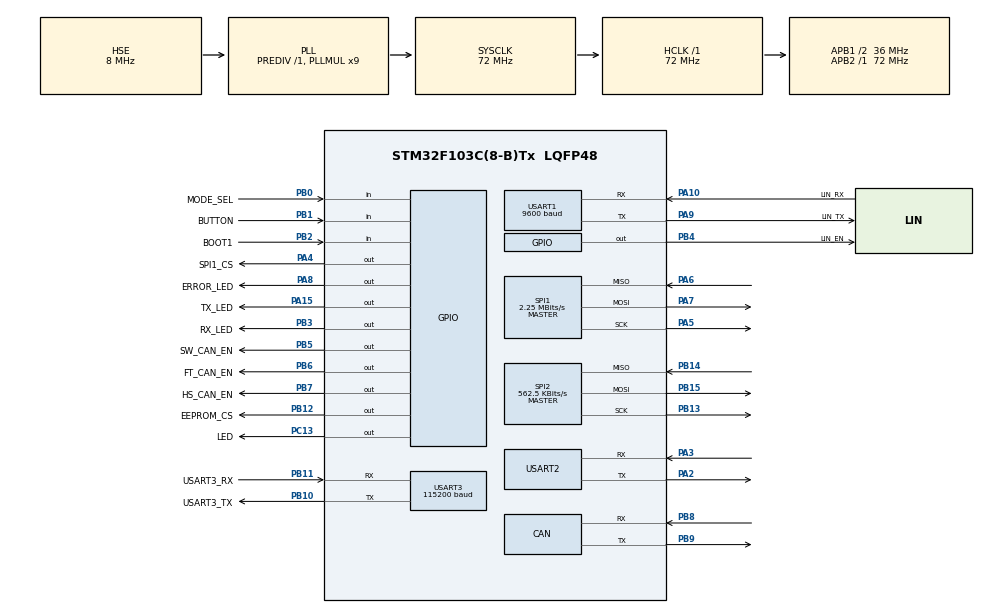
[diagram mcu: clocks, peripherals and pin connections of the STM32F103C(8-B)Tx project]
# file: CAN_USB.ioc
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CAN.CalculateTimeBit=1333.33
CAN.CalculateTimeQuantum=444.44444444444446
Dma.Request0=USART2_TX
Dma.Request1=USART1_TX
Dma.Request2=USART3_TX
Dma.USART1_TX.1.Direction=DMA_MEMORY_TO_PERIPH
Dma.USART1_TX.1.Instance=DMA1_Channel4
Dma.USART1_TX.1.MemDataAlignment=DMA_MDATAALIGN_BYTE
Dma.USART1_TX.1.MemInc=DMA_MINC_ENABLE
Dma.USART1_TX.1.Mode=DMA_NORMAL
Dma.USART1_TX.1.PeriphDataAlignment=DMA_PDATAALIGN_BYTE
Dma.USART1_TX.1.PeriphInc=DMA_PINC_DISABLE
Dma.USART1_TX.1.Priority=DMA_PRIORITY_LOW
Dma.USART2_TX.0.Direction=DMA_MEMORY_TO_PERIPH
Dma.USART2_TX.0.Instance=DMA1_Channel7
Dma.USART2_TX.0.MemDataAlignment=DMA_MDATAALIGN_BYTE
Dma.USART2_TX.0.MemInc=DMA_MINC_ENABLE
Dma.USART2_TX.0.Mode=DMA_NORMAL
Dma.USART2_TX.0.PeriphDataAlignment=DMA_PDATAALIGN_BYTE
Dma.USART2_TX.0.PeriphInc=DMA_PINC_DISABLE
Dma.USART2_TX.0.Priority=DMA_PRIORITY_LOW
Dma.USART3_TX.2.Direction=DMA_MEMORY_TO_PERIPH
Dma.USART3_TX.2.Instance=DMA1_Channel2
Dma.USART3_TX.2.MemDataAlignment=DMA_MDATAALIGN_BYTE
Dma.USART3_TX.2.MemInc=DMA_MINC_ENABLE
Dma.USART3_TX.2.Mode=DMA_NORMAL
Dma.USART3_TX.2.PeriphDataAlignment=DMA_PDATAALIGN_BYTE
Dma.USART3_TX.2.PeriphInc=DMA_PINC_DISABLE
Dma.USART3_TX.2.Priority=DMA_PRIORITY_LOW
Mcu.Family=STM32F1
Mcu.Name=STM32F103C(8-B)Tx
Mcu.Package=LQFP48
NVIC.DMA1_Channel2_IRQn=true\:2\:0\:true\:false\:true\:false\:true
NVIC.DMA1_Channel4_IRQn=true\:2\:0\:true\:false\:true\:false\:true
NVIC.DMA1_Channel7_IRQn=true\:2\:0\:true\:false\:true\:false\:true
NVIC.PriorityGroup=NVIC_PRIORITYGROUP_4
NVIC.USART1_IRQn=true\:1\:0\:true\:false\:true\:true\:true
NVIC.USART2_IRQn=true\:1\:0\:true\:false\:true\:true\:true
NVIC.USART3_IRQn=true\:1\:0\:true\:false\:true\:true\:true
NVIC.USB_LP_CAN1_RX0_IRQn=true\:0\:0\:false\:false\:true\:true\:true
PA10.GPIO_Label=LIN_RX
PA10.GPIO_PuPd=GPIO_PULLUP
PA10.Mode=LIN
PA10.Signal=USART1_RX
PA13.Mode=Serial_Wire
PA13.Signal=SYS_JTMS-SWDIO
PA14.Mode=Serial_Wire
PA14.Signal=SYS_JTCK-SWCLK
PA15.GPIO_Label=TX_LED
PA15.Signal=GPIO_Output
PA2.GPIO_Mode=GPIO_MODE_AF_PP
PA2.Mode=Asynchronous
PA2.Signal=USART2_TX
PA3.Mode=Asynchronous
PA3.Signal=USART2_RX
PA4.GPIO_Label=SPI1_CS
PA4.GPIO_Speed=GPIO_SPEED_FREQ_HIGH
PA4.PinState=GPIO_PIN_SET
PA4.Signal=GPIO_Output
PA5.Mode=Full_Duplex_Master
PA5.Signal=SPI1_SCK
PA6.Mode=Full_Duplex_Master
PA6.Signal=SPI1_MISO
PA7.Mode=Full_Duplex_Master
PA7.Signal=SPI1_MOSI
PA8.GPIO_Label=ERROR_LED
PA8.Signal=GPIO_Output
PA9.GPIO_Label=LIN_TX
PA9.Mode=LIN
PA9.Signal=USART1_TX
PB0.GPIO_Label=MODE_SEL
PB0.GPIO_PuPd=GPIO_PULLUP
PB0.Signal=GPIO_Input
PB1.GPIO_Label=BUTTON
PB1.GPIO_PuPd=GPIO_PULLUP
PB1.Signal=GPIO_Input
PB10.GPIO_Label=USART3_TX
PB10.Mode=Asynchronous
PB10.Signal=USART3_TX
PB11.GPIO_Label=USART3_RX
PB11.Mode=Asynchronous
PB11.Signal=USART3_RX
PB12.GPIO_Label=EEPROM_CS
PB12.GPIO_Speed=GPIO_SPEED_FREQ_HIGH
PB12.PinState=GPIO_PIN_SET
PB12.Signal=GPIO_Output
PB13.Mode=Full_Duplex_Master
PB13.Signal=SPI2_SCK
PB14.Mode=Full_Duplex_Master
PB14.Signal=SPI2_MISO
PB15.Mode=Full_Duplex_Master
PB15.Signal=SPI2_MOSI
PB2.GPIO_Label=BOOT1
PB2.Signal=GPIO_Input
PB3.GPIO_Label=RX_LED
PB3.Signal=GPIO_Output
PB4.GPIO_Label=LIN_EN
PB4.Signal=GPIO_Output
PB5.GPIO_Label=SW_CAN_EN
PB5.Signal=GPIO_Output
PB6.GPIO_Label=FT_CAN_EN
PB6.Signal=GPIO_Output
PB7.GPIO_Label=HS_CAN_EN
PB7.Signal=GPIO_Output
PB8.Mode=Master
PB8.Signal=CAN_RX
PB9.Mode=Master
PB9.Signal=CAN_TX
PC13-TAMPER-RTC.GPIO_Label=LED
PC13-TAMPER-RTC.GPIO_ModeDefaultOutputPP=GPIO_MODE_OUTPUT_PP
PC13-TAMPER-RTC.GPIO_PuPd=GPIO_NOPULL
PC13-TAMPER-RTC.GPIO_Speed=GPIO_SPEED_FREQ_HIGH
PC13-TAMPER-RTC.PinState=GPIO_PIN_RESET
PC13-TAMPER-RTC.Signal=GPIO_Output
PC14-OSC32_IN.Mode=LSE-External-Oscillator
PC14-OSC32_IN.Signal=RCC_OSC32_IN
PC15-OSC32_OUT.Mode=LSE-External-Oscillator
PC15-OSC32_OUT.Signal=RCC_OSC32_OUT
PD0-OSC_IN.Mode=HSE-External-Oscillator
PD0-OSC_IN.Signal=RCC_OSC_IN
PD1-OSC_OUT.Mode=HSE-External-Oscillator
PD1-OSC_OUT.Signal=RCC_OSC_OUT
ProjectManager.HeapSize=0x200
ProjectManager.StackSize=0x400
ProjectManager.TargetToolchain=STM32CubeIDE
RCC.AHBFreq_Value=72000000
RCC.APB1CLKDivider=RCC_HCLK_DIV2
RCC.APB1Freq_Value=36000000
RCC.APB1TimFreq_Value=72000000
RCC.APB2Freq_Value=72000000
RCC.APB2TimFreq_Value=72000000
RCC.HCLKFreq_Value=72000000
RCC.PLLMUL=RCC_PLL_MUL9
RCC.PLLSourceVirtual=RCC_PLLSOURCE_HSE
RCC.RTCClockSelection=RCC_RTCCLKSOURCE_LSE
RCC.SYSCLKFreq_VALUE=72000000
RCC.SYSCLKSource=RCC_SYSCLKSOURCE_PLLCLK
RCC.USBFreq_Value=48000000
RCC.USBPrescaler=RCC_USBCLKSOURCE_PLL_DIV1_5
SPI1.BaudRatePrescaler=SPI_BAUDRATEPRESCALER_32
SPI1.CalculateBaudRate=2.25 MBits/s
SPI1.Direction=SPI_DIRECTION_2LINES
SPI1.Mode=SPI_MODE_MASTER
SPI1.VirtualType=VM_MASTER
SPI2.BaudRatePrescaler=SPI_BAUDRATEPRESCALER_64
SPI2.CalculateBaudRate=562.5 KBits/s
SPI2.Direction=SPI_DIRECTION_2LINES
SPI2.Mode=SPI_MODE_MASTER
SPI2.VirtualType=VM_MASTER
USART1.BaudRate=9600
USART1.VirtualMode=VM_ASYNC
USART2.VirtualMode=VM_ASYNC
USART3.BaudRate=115200
USART3.VirtualMode=VM_ASYNC
VP_FATFS_VS_Generic.Mode=User_defined
VP_RTC_VS_RTC_Activate.Mode=RTC_Enabled
board=custom

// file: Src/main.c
/* USER CODE BEGIN Header */
/**
  ******************************************************************************
  * @file           : main.c
  * @brief          : Main program body
  ******************************************************************************
  * @attention
  *
  * <h2><center>&copy; Copyright (c) 2020 STMicroelectronics.
  * All rights reserved.</center></h2>
  *
  * This software component is licensed by ST under Ultimate Liberty license
  * SLA0044, the "License"; You may not use this file except in compliance with
  * the License. You may obtain a copy of the License at:
  *                             www.st.com/SLA0044
  *
  ******************************************************************************
  */
/* USER CODE END Header */
#include "main.h"
#include "can.h"
#include "dma.h"
#include "fatfs.h"
#include "rtc.h"
#include "spi.h"
#include "usart.h"
#include "gpio.h"

/* USER CODE BEGIN Includes */
//#include "usbd_cdc_if.h"
#include <stdlib.h>
#include "button.h"
#include "GVRET.h"
#include "eeprom.h"
#include <string.h>
#include "LIN.h"
/* USER CODE END Includes */

/* USER CODE BEGIN PD */
UART_HandleTypeDef *huart_active;
UART_HandleTypeDef *huart_lin;

/* USER CODE END PD */

/* USER CODE BEGIN PV */
uint64_t time_stamp_UART = 0;
uint64_t time_stamp_LED = 0;
uint64_t time_stamp_BUT = 0;
uint64_t time_stamp_SAVE = 0;
//can_msg_t can_msg;
uint8_t uart_tx_bufer[128];
uint8_t uart_tx_bufer_1[128];
uint8_t uart_tx_bufer_active_no = 0;
uint8_t uart_tx_com_bufer[32];
uint8_t uart_answ_ready = 0;
uint32_t uart_tx_pointer = 0;
uint8_t uart_rx_bufer[1024];
uint32_t uart_rx_pointer_w = 0;
uint32_t uart_rx_pointer_r = 0;
uint8_t uart_rx_char;
uint8_t flash_buffer[128];
uint8_t filename[] = LOG_NAME;
uint8_t pathname[] = LOG_PATH;

uint8_t script_read_buf[1024];
uint32_t debug_pt = 0;

conf_t conf;

can_msg_t can_rx_buf[2];
volatile uint8_t uart_busy = 0;

uint8_t test_str[] = "Hello World \r\n";
t_button_var button_var;

uint32_t rx_led_ts = 0;
uint32_t tx_led_ts = 0;
uint32_t error_led_ts = 0;
uint8_t rx_led_z1 = 0;
uint8_t tx_led_z1 = 0;
uint8_t error_led_z1 = 0;

//uint8_t in[100], out[150];

uint8_t script_buf[CMD_BUFFER_LENGTH];
uint8_t script_buf_pointer = 0;

extern const char help_text[];

FRESULT fresult = FR_OK;
FATFS fs;
FIL fil;
extern Disk_drvTypeDef  disk;

/* USER CODE END PV */

void SystemClock_Config(void);
/* USER CODE BEGIN PFP */
void ConvertValToString(int64_t n, uint8_t s[]);
void SendToUart_CanHacker(can_msg_t msg);

void UART_Check_Data_Ready(void);
/* USER CODE END PFP */

/* USER CODE BEGIN 0 */
uint8_t txt_hallo[] = "CAN temperature logger\r\n";
uint8_t timestamp[] = "1234567890";

void UART_Check_Data_Ready(void)
{
	if(uart_answ_ready == 1)
	{
		for(int i = 0; i < uart_tx_pointer; i++)
		{
			uart_tx_bufer[i] = uart_tx_com_bufer[i];
		}
		HAL_UART_Transmit_DMA(huart_active, uart_tx_bufer, uart_tx_pointer);
		uart_tx_pointer = 0;
		uart_busy = 1;
		uart_answ_ready = 0;
	}
	else
	{
		if(conf.state == LAWICEL_CONNECT || conf.state == SAVVYCAN_CONNECT)
		{
			if(CAN_Buffer_pull() == HAL_OK)
			{
				uart_busy = 1;
				//HAL_GPIO_WritePin(RX_LED_GPIO_Port, RX_LED_Pin, GPIO_PIN_RESET);
			}
		}
		else
		{
			//CAN_Buffer_clean();
		}

		if(conf.script_print)
		{
			uart_tx_pointer = 0;
			for(conf.script_address = eeprom_settings.start_address_script; conf.script_address < eeprom_settings.eeprom_size-2/*(eeprom_settings.start_address_csript + 128)*/; conf.script_address++)
			{
				EEPROM_Read(&hspi2, conf.script_address, &uart_tx_bufer[uart_tx_pointer++], 1);
				if(uart_tx_bufer[uart_tx_pointer-1] == 0xFF)
				{
					uart_tx_pointer--;
					conf.script_print = false;
					break;
				}
			}
			if(conf.script_address >= eeprom_settings.eeprom_size-2)
			{
				conf.script_print = false;
			}
			HAL_UART_Transmit_DMA(huart_active, uart_tx_bufer, uart_tx_pointer);
			uart_tx_pointer = 0;
			uart_busy = 1;
		}
		if(conf.help_print)
				{
					uart_tx_pointer = 0;
					for(int i = conf.help_text_pointer; i < conf.help_text_pointer + 128; i++)
					{
						uart_tx_bufer[uart_tx_pointer++] = help_text[i];
						if(help_text[i] == '\0')
						{
							uart_tx_pointer--;
							conf.help_print = false;
							break;
						}
					}
					conf.help_text_pointer += 128;
					HAL_UART_Transmit_DMA(huart_active, uart_tx_bufer, uart_tx_pointer);
					uart_tx_pointer = 0;
					uart_busy = 1;
				}
	}

}

void HAL_UART_TxCpltCallback(UART_HandleTypeDef *huart)
{
	uart_busy = 0;
	UART_Check_Data_Ready();
	//HAL_GPIO_WritePin(RX_LED_GPIO_Port, RX_LED_Pin, GPIO_PIN_RESET);
}

void HAL_CAN_RxFifo1MsgPendingCallback(CAN_HandleTypeDef *hcan)
{
	HAL_CAN_GetRxMessage(hcan, CAN_RX_FIFO1, &can_rx_buf[1].header, can_rx_buf[1].data_byte);
	can_rx_buf[1].timestamp = HAL_GetTick();
	can_rx_buf[1].bus = eeprom_settings.numBus;
	CAN_Buffer_Write_Data(can_rx_buf[1]);
	if(conf.loger_run == true)
		CAN_Log_Buffer_Write_Data(can_rx_buf[1]);
	HAL_GPIO_WritePin(RX_LED_GPIO_Port, RX_LED_Pin, GPIO_PIN_SET);
}

void HAL_CAN_RxFifo0MsgPendingCallback(CAN_HandleTypeDef *hcan)
{
	if(HAL_CAN_GetRxMessage(hcan, CAN_RX_FIFO0, &can_rx_buf[0].header, can_rx_buf[0].data_byte) != HAL_OK) return;
	can_rx_buf[0].timestamp = HAL_GetTick();
	can_rx_buf[0].bus = eeprom_settings.numBus;
	CAN_Buffer_Write_Data(can_rx_buf[0]);
	if(conf.loger_run == true)
		CAN_Log_Buffer_Write_Data(can_rx_buf[0]);
	HAL_GPIO_WritePin(RX_LED_GPIO_Port, RX_LED_Pin, GPIO_PIN_SET);
}

void HAL_CAN_RxFifo0FullCallback(CAN_HandleTypeDef *hcan)
{
	HAL_CAN_RxFifo0MsgPendingCallback(hcan);
}

void HAL_CAN_RxFifo1FullCallback(CAN_HandleTypeDef *hcan)
{
	HAL_CAN_RxFifo1MsgPendingCallback(hcan);
}

void HAL_CAN_ErrorCallback(CAN_HandleTypeDef *hcan)
{
	HAL_GPIO_WritePin(ERROR_LED_GPIO_Port, ERROR_LED_Pin, GPIO_PIN_SET);
	return;
}

HAL_StatusTypeDef Save_to_File(uint8_t * buf, uint32_t len)
{
	unsigned int bw;
	fresult = f_write(&fil, buf, len, &bw);
	if(fresult == FR_OK && bw == len) return HAL_OK;
	else return HAL_ERROR;
}

/* USER CODE END 0 */

int main(void)
{
  /* USER CODE BEGIN 1 */
	CAN_Buffer_Init();
  /* USER CODE END 1 */

  /* MCU Configuration--------------------------------------------------------*/

  /* Reset of all peripherals, Initializes the Flash interface and the Systick. */
  HAL_Init();

  /* USER CODE BEGIN Init */
  huart_active = &huart3;
  huart_lin = &huart1;
  /* USER CODE END Init */

  /* Configure the system clock */
  SystemClock_Config();

  /* Initialize all configured peripherals */
  MX_GPIO_Init();
  MX_DMA_Init();
  MX_RTC_Init();
  MX_USART3_UART_Init();
  MX_USART2_UART_Init();
  MX_USART1_UART_Init();
  MX_CAN_Init();
  MX_SPI2_Init();
  MX_FATFS_Init();
  MX_SPI1_Init();
  /* USER CODE BEGIN 2 */
  HAL_Delay(100);

  EEPROM_Write_disable(&hspi2, 1000);

 // first initialization
  volatile boolean first = false;
  EEPROM_Read(&hspi2, EEPROM_SETINGS_ADDR, (uint8_t*)&eeprom_settings, sizeof(eeprom_settings));
  if(eeprom_settings.version == 0xFFFF || eeprom_settings.version < EEPROM_VERSION) {eeprom_settings.version = EEPROM_VERSION; first = true;}
  if(eeprom_settings.eeprom_size == 0xFFFF) {eeprom_settings.eeprom_size = EEPROM_SIZE; first = true;}
  if(eeprom_settings.number_of_busses == 0xFF) {eeprom_settings.number_of_busses = 4; first = true;}
  if(eeprom_settings.start_address_script == 0xFFFF) {eeprom_settings.start_address_script = EEPROM_SCRIPT_ADDR; first = true;}
  if(eeprom_settings.numBus == 0xFF) {eeprom_settings.numBus = 0; first = true;}
  if(eeprom_settings.CAN_Speed[0] == 0xFFFFFFFF) {eeprom_settings.CAN_Speed[0] = 500000; first = true;}
  if(eeprom_settings.CAN_Speed[1] == 0xFFFFFFFF) {eeprom_settings.CAN_Speed[1] = 125000; first = true;}
  if(eeprom_settings.CAN_Speed[2] == 0xFFFFFFFF) {eeprom_settings.CAN_Speed[2] = 33333; first = true;}
  if(eeprom_settings.CAN_Speed[3] == 0xFFFFFFFF) {eeprom_settings.CAN_Speed[3] = 10417; first = true;}
  for(int i=0; i<4;i++)
  {
	  if(eeprom_settings.CAN_mode[i] == 0xFFFFFFFF) {eeprom_settings.CAN_mode[i] = CAN_MODE_SILENT; first = true;}
  }
  if(eeprom_settings.UART_Speed == 0xFFFF) {eeprom_settings.UART_Speed = 115200; first = true;}
  if(eeprom_settings.fileOutputType > 10) {eeprom_settings.fileOutputType = CRTD_FILE; first = true;}
  if(eeprom_settings.SD_autoconnect > 10) {eeprom_settings.SD_autoconnect = 0; first = true;}

  if(first == true) EEPROM_Write(&hspi2, EEPROM_SETINGS_ADDR, (uint8_t*)&eeprom_settings, sizeof(eeprom_settings));

  // Check switch or incorrect data to reset UART speed
  if(HAL_GPIO_ReadPin(BOOT1_GPIO_Port, BOOT1_Pin) == 1)
  {
	  huart3.Init.BaudRate = 115200;
  }
  else
  {
	  huart3.Init.BaudRate = (eeprom_settings.UART_Speed > 0 && eeprom_settings.UART_Speed < 10000000) ? eeprom_settings.UART_Speed : 115200;
  }
  HAL_UART_Init(&huart3);

// SD FLASH try connect
  if(eeprom_settings.SD_autoconnect == 1)
  {
		fresult = f_mount(&fs, "0:", 1);
		if(fresult == FR_OK)
		{
			conf.sd_card_avalible = true;
			fresult = f_open(&fil, "script.txt", FA_READ);
			if(fresult == FR_OK)
			{
				do
				{
					if(f_gets((char*)script_read_buf, sizeof(script_read_buf), &fil) != 0)
					{
						uint8_t str_len = strlen((char*)script_read_buf);

						// cut of comments
						for(int i = 0; i < str_len; i++)
						{
							if(script_read_buf[i] == ' ' || script_read_buf[i] == '#' || script_read_buf[i] == '\r')
							{
								//if(i == 0) continue;
								script_read_buf[i] = '\r';
								str_len = i + 1;
								break;
							}
						}
						// correct "end of command"
						if(script_read_buf[str_len-1] == '\n') script_read_buf[str_len-1] = '\r';
						else if(script_read_buf[str_len-1] != '\r') script_read_buf[str_len++] = '\r';
						//if(debug_buf[str_len-2] == '\r') str_len--;

						if(str_len > 1)
							copy_script(script_read_buf, str_len);
					}
					else
					{
						script_read_buf[0] = 0xFF;
						copy_script(script_read_buf, 1);
						break;
					}
				}
				while(1);
			}
		}
		else
		{
			f_mount(0, "0:", 1);
			disk.is_initialized[0] = 0; // Reset flag of initialized
		}
  }

  conf.script_run = true;
  conf.scpipt_saving = false;
  conf.script_address = eeprom_settings.start_address_script;
  conf.script_loop_address = 0xFFFF;

#ifdef ONLY_GM_DIAG

  SetFilterCAN(0x7E0<<21, 0xFF0<<21, CAN_FILTERMODE_IDMASK,0);
  SetFilterCAN(0x7DF<<21, 0xFFF<<21, CAN_FILTERMODE_IDMASK,1);
  SetFilterCAN(0x241<<21, 0xFE0<<21, CAN_FILTERMODE_IDMASK,2);
#else

  SetFilterCAN(0,0,CAN_FILTERMODE_IDMASK,0);
#endif
  Change_CAN_channel();
  /* USER CODE END 2 */

  /* Infinite loop */
  /* USER CODE BEGIN WHILE */
#if 0
  /* Enable the UART Parity Error Interrupt */
  __HAL_UART_ENABLE_IT(&huart3, UART_IT_PE);
#endif
  /* Enable the UART Error Interrupt: (Frame error, noise error, overrun error) */
  __HAL_UART_ENABLE_IT(&huart3, UART_IT_ERR);

  /* Enable the UART Data Register not empty Interrupt */
  __HAL_UART_ENABLE_IT(&huart3, UART_IT_RXNE);

  while (1)
  {

	  while(uart_rx_pointer_r != uart_rx_pointer_w) // Buffer UART RX reading
	  {
		  uart_rx_pointer_r = (uart_rx_pointer_r + 1) & 1023;
		  Check_Command(uart_rx_bufer[uart_rx_pointer_r]);

	  }

	  if(conf.script_run == true)
	  {
		  if(conf.script_delay_active && HAL_GetTick() - conf.script_timestamp < conf.script_delay)
		  {
			  ;
		  }
		  else
		  {
			  uint8_t in_byte;
			  conf.script_delay_active = false;
			  EEPROM_Read(&hspi2, conf.script_address, &in_byte, 1);
			  if(in_byte == CR)
			  {
				  exec_usb_cmd(script_buf);
				  for(;script_buf_pointer > 0; script_buf_pointer--)
				  {
					  script_buf[script_buf_pointer] = 0;
				  }
				  script_buf_pointer = 0;
				  if(conf.script_address < eeprom_settings.eeprom_size-1) conf.script_address++;
				  else conf.script_run = false;
			  }
			  else if(in_byte == 0xFF)
			  {
				  script_buf_pointer = 0;
				  if(conf.script_loop_address >= eeprom_settings.start_address_script && conf.script_loop_address != 0xFFFF)
				  {
					  conf.script_address = conf.script_loop_address;
				  }
				  else
				  {
					  conf.script_run = false;
					  conf.script_address = eeprom_settings.start_address_script;
					  script_buf_pointer = 0;
				  }
			  }
			  else
			  {
				  script_buf[script_buf_pointer] = in_byte;
				  script_buf_pointer++;
				  if(conf.script_address < (eeprom_settings.eeprom_size-1) && script_buf_pointer < CMD_BUFFER_LENGTH) conf.script_address++;
				  else conf.script_run = false;
			  }
		  }

	  }
	  else
	  {
		  conf.script_delay_active = false;
	  }

		if(HAL_GetTick() - time_stamp_UART >= 20 && uart_busy == 0)
		{
			time_stamp_UART = HAL_GetTick();
			UART_Check_Data_Ready();
		}

		// LED blinking
		if(HAL_GetTick() - time_stamp_LED >= 500)
		{
			time_stamp_LED = HAL_GetTick();
			HAL_GPIO_TogglePin(LED_GPIO_Port, LED_Pin);
// LIN DEBUG
//			uint8_t temp_buf[9] = {0x55,0x55,0x55,0x55,0x55,0x55,0x55,0x55,0x55};
//			lin_send_master_request(0x55, temp_buf, 9);
//			HAL_GPIO_WritePin(TX_LED_GPIO_Port, TX_LED_Pin, GPIO_PIN_SET);
		}

		//Save file, open NEW
		if(conf.sd_card_avalible == true)
		{
			HAL_StatusTypeDef buff_stat;

			buff_stat = CAN_Log_Buffer_pull();

			if(HAL_GetTick() - time_stamp_SAVE >= LOG_FILE_SAVE_TIMEOUT
					|| ((conf.state == IDLE_ST || conf.loger_run == false) && buff_stat == HAL_BUSY)
					|| conf.fileOutputType != eeprom_settings.fileOutputType)
			{
				time_stamp_SAVE = HAL_GetTick();
				if(f_size(&fil) != 0 || conf.fileOutputType != eeprom_settings.fileOutputType) // TODO save new format check
				{
					fresult = f_close(&fil);
					if(conf.loger_run == true)
					{
						conf.fileOutputType = eeprom_settings.fileOutputType;
						  do
						  {
							  Generate_Next_FileName(filename, pathname);
							  fresult = f_open(&fil, (const TCHAR*)filename, FA_WRITE | FA_CREATE_NEW | FA_CREATE_ALWAYS);

							  if(fresult == FR_DENIED) // Full_directory
							  {
						        	do
						        	{
						        		Generate_Next_Path(pathname);
						        		fresult = f_mkdir((TCHAR*)pathname);
						        	}
						        	while(fresult == FR_EXIST);
						        	if(fresult != FR_OK) return ERROR;
						        	Generate_Next_FileName(filename, pathname);
						        	fresult = f_open(&fil, (const TCHAR*)filename, FA_WRITE | FA_CREATE_NEW | FA_CREATE_ALWAYS);
							  }
						  }
						  while(fresult == FR_EXIST);
					}
					if(fresult != FR_OK) conf.sd_card_avalible = false; //TODO flex. All errors disable card
				}
			}
		}

		if(Button_rutine(&button_var, HAL_GPIO_ReadPin(BUTTON_GPIO_Port, BUTTON_Pin) == 1) == DOUBLE_CLICKED)
		{
			Next_CAN_channel();
		}

		if(HAL_GPIO_ReadPin(RX_LED_GPIO_Port, RX_LED_Pin) == GPIO_PIN_SET)
		{
			if(rx_led_z1 == 0)
			{
				rx_led_z1 = 1;
				rx_led_ts = HAL_GetTick();
			}
			else if(HAL_GetTick() - rx_led_ts > 3)
			{
				HAL_GPIO_WritePin(RX_LED_GPIO_Port, RX_LED_Pin, GPIO_PIN_RESET);
				rx_led_z1 = 0;
				rx_led_ts = HAL_GetTick();
			}
		}

		if(HAL_GPIO_ReadPin(TX_LED_GPIO_Port, TX_LED_Pin) == GPIO_PIN_SET)
		{
			if(tx_led_z1 == 0)
			{
				tx_led_z1 = 1;
				tx_led_ts = HAL_GetTick();
			}
			else if(HAL_GetTick() - tx_led_ts > 3)
			{
				HAL_GPIO_WritePin(TX_LED_GPIO_Port, TX_LED_Pin, GPIO_PIN_RESET);
				tx_led_z1 = 0;
			}
		}

		if(HAL_GPIO_ReadPin(ERROR_LED_GPIO_Port, ERROR_LED_Pin) == GPIO_PIN_SET)
		{
			if(HAL_CAN_GetError(&hcan) == HAL_CAN_ERROR_BOF) break;
			if(error_led_z1 == 0)
			{
				error_led_z1 = 1;
				error_led_ts = HAL_GetTick();
			}
			else if(HAL_GetTick() - error_led_ts > 100)
			{
				HAL_GPIO_WritePin(ERROR_LED_GPIO_Port, ERROR_LED_Pin, GPIO_PIN_RESET);
				error_led_z1 = 0;
			}
		}

    /* USER CODE END WHILE */

  }
}

void SystemClock_Config(void)
{
  RCC_OscInitTypeDef RCC_OscInitStruct = {0};
  RCC_ClkInitTypeDef RCC_ClkInitStruct = {0};
  RCC_PeriphCLKInitTypeDef PeriphClkInit = {0};

  /** Initializes the RCC Oscillators according to the specified parameters
  * in the RCC_OscInitTypeDef structure.
  */
  RCC_OscInitStruct.OscillatorType = RCC_OSCILLATORTYPE_HSE|RCC_OSCILLATORTYPE_LSE;
  RCC_OscInitStruct.HSEState = RCC_HSE_ON;
  RCC_OscInitStruct.HSEPredivValue = RCC_HSE_PREDIV_DIV1;
  RCC_OscInitStruct.LSEState = RCC_LSE_ON;
  RCC_OscInitStruct.HSIState = RCC_HSI_ON;
  RCC_OscInitStruct.PLL.PLLState = RCC_PLL_ON;
  RCC_OscInitStruct.PLL.PLLSource = RCC_PLLSOURCE_HSE;
  RCC_OscInitStruct.PLL.PLLMUL = RCC_PLL_MUL9;
  if (HAL_RCC_OscConfig(&RCC_OscInitStruct) != HAL_OK)
  {
    Error_Handler();
  }
  /** Initializes the CPU, AHB and APB buses clocks
  */
  RCC_ClkInitStruct.ClockType = RCC_CLOCKTYPE_HCLK|RCC_CLOCKTYPE_SYSCLK
                              |RCC_CLOCKTYPE_PCLK1|RCC_CLOCKTYPE_PCLK2;
  RCC_ClkInitStruct.SYSCLKSource = RCC_SYSCLKSOURCE_PLLCLK;
  RCC_ClkInitStruct.AHBCLKDivider = RCC_SYSCLK_DIV1;
  RCC_ClkInitStruct.APB1CLKDivider = RCC_HCLK_DIV2;
  RCC_ClkInitStruct.APB2CLKDivider = RCC_HCLK_DIV1;

  if (HAL_RCC_ClockConfig(&RCC_ClkInitStruct, FLASH_LATENCY_2) != HAL_OK)
  {
    Error_Handler();
  }
  PeriphClkInit.PeriphClockSelection = RCC_PERIPHCLK_RTC;
  PeriphClkInit.RTCClockSelection = RCC_RTCCLKSOURCE_LSE;
  if (HAL_RCCEx_PeriphCLKConfig(&PeriphClkInit) != HAL_OK)
  {
    Error_Handler();
  }
}

/* USER CODE BEGIN 4 */
/* itoa:  convert integer to char[] */
void ConvertValToString(int64_t n, uint8_t s[])
{
    int i;
	   int64_t sign;

    if ((sign = n) < 0)  /* ?????????? ???? */
        n = -n;          /* ?????? n ????????????? ?????? */
    i = 0;
    do {       /* ?????????? ????? ? ???????? ??????? */
        s[i++] = n % 10 + '0';   /* ????? ????????? ????? */
    } while ((n /= 10) > 0);     /* ??????? */
    if (sign < 0)
        s[i++] = '-';
    for(int j = 0; j < i/2; j++)
    {
    	uint8_t buf = s[i - j - 1];
    	s[i - j - 1] = s[j];
    	s[j] = buf;
    }
    s[i] = '\0';

}

/* USER CODE END 4 */

void Error_Handler(void)
{
}

/************************ (C) COPYRIGHT STMicroelectronics *****END OF FILE****/
